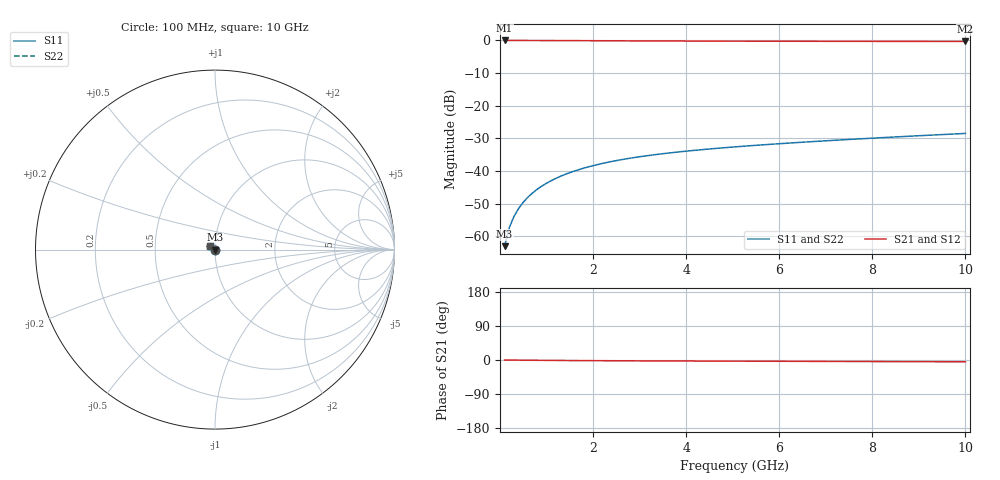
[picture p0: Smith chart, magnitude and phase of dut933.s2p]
! Touchstone file exported from HFSS 2024.1.0
!  File:  C:/UserFiles/LocalFiles/RDL_TSV_Batchsim/temp_TSV1_933_1779947327.aedt
!  Generated:  01:54:20 PM May 28, 2026
!  Design:  TSV1
!  Project:  temp_TSV1_933_1779947327
!  Setup:  Setup1
!  Solution:  Sweep
! Variables:
!  dtsv = 7.43um
!  hbump = 3um
!  htsv = 66.98um
!  lrdl = 252.1521522um
!  p = 40
!  p1 = 59.16um
!  t = 500um
!  trdl = 3um
!  wrdl = 24.89489489um
# GHz S MA R 50.000000
! Terminal data exported
! Port[1] = TSV22_T1
! Port[2] = TSV22_T2
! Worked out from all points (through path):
!   100 points, 100 MHz to 10 GHz, reference 50 ohm
!   highest |S21| = 0.00 dB at 100 MHz (marker M1); lowest = -0.3 dB at 10 GHz (marker M2)
!   lowest |S11| = -63.0 dB at 100 MHz (marker M3), VSWR 1.00, Z = 50 - j0.0674 ohm
!   |S11| at or under -10 dB: start of sweep to end of sweep
!   |S22| runs from -63.0 to -28.5 dB; largest |S21 - S12| = 4.1e-15
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0.1  0.0007039 -73.1  0.9997 -0.1  0.9997 -0.1  0.0007039 -73.1
! Gamma 0 0 0 0
! Port Impedance 50 0 50 0
0.2  0.001347 -85.0  0.9996 -0.2  0.9996 -0.2  0.001347 -85.0
0.3  0.002002 -90.8  0.9995 -0.3  0.9995 -0.3  0.002002 -90.8
0.4  0.002657 -94.9  0.9993 -0.4  0.9993 -0.4  0.002657 -94.9
0.5  0.003309 -98.4  0.999 -0.5  0.999 -0.5  0.003309 -98.4
0.6  0.003958 -101.5  0.9987 -0.6  0.9987 -0.6  0.003958 -101.5
0.7  0.004601 -104.4  0.9983 -0.7  0.9983 -0.7  0.004601 -104.4
0.8  0.005236 -107.1  0.9979 -0.8  0.9979 -0.8  0.005236 -107.1
0.9  0.005865 -109.7  0.9974 -0.9  0.9974 -0.9  0.005865 -109.7
1.1  0.007093 -114.7  0.9964 -1.0  0.9964 -1.0  0.007093 -114.7
1.4  0.008858 -121.8  0.9947 -1.3  0.9947 -1.3  0.008858 -121.8
1.6  0.009975 -126.3  0.9934 -1.4  0.9934 -1.4  0.009975 -126.3
1.8  0.01104 -130.6  0.9921 -1.6  0.9921 -1.6  0.01104 -130.6
2.1  0.01256 -136.7  0.9902 -1.8  0.9902 -1.8  0.01256 -136.7
2.5  0.01441 -144.3  0.9875 -2.0  0.9875 -2.0  0.01441 -144.3
2.9  0.0161 -151.3  0.985 -2.2  0.985 -2.2  0.0161 -151.3
3.4  0.01802 -159.3  0.9822 -2.4  0.9822 -2.4  0.01802 -159.3
4.2  0.02076 -170.5  0.9783 -2.8  0.9783 -2.8  0.02076 -170.5
5.1  0.02354 178.8  0.9749 -3.1  0.9749 -3.1  0.02354 178.8
6.7  0.02814 163.8  0.9708 -3.6  0.9708 -3.6  0.02814 163.8
8.4  0.03294 151.7  0.9679 -4.2  0.9679 -4.2  0.03294 151.7
10  0.03758 142.9  0.9659 -4.7  0.9659 -4.7  0.03758 142.9
